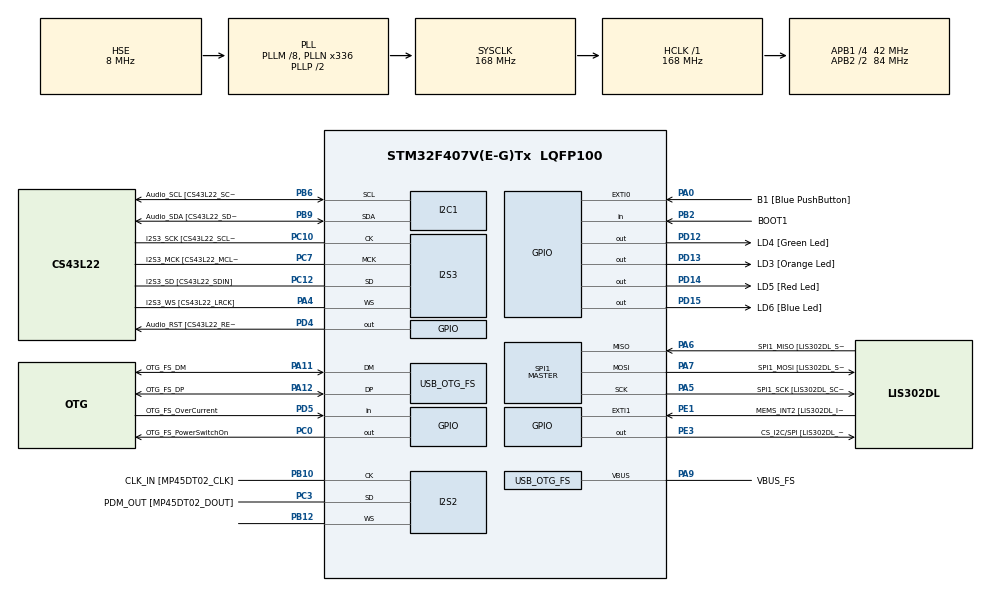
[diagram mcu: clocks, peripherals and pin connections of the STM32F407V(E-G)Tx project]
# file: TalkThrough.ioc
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Dma.Request0=SPI2_RX
Dma.Request1=SPI3_TX
Dma.SPI2_RX.0.Direction=DMA_PERIPH_TO_MEMORY
Dma.SPI2_RX.0.FIFOMode=DMA_FIFOMODE_DISABLE
Dma.SPI2_RX.0.Instance=DMA1_Stream3
Dma.SPI2_RX.0.MemDataAlignment=DMA_MDATAALIGN_WORD
Dma.SPI2_RX.0.MemInc=DMA_MINC_ENABLE
Dma.SPI2_RX.0.Mode=DMA_CIRCULAR
Dma.SPI2_RX.0.PeriphDataAlignment=DMA_PDATAALIGN_WORD
Dma.SPI2_RX.0.PeriphInc=DMA_PINC_DISABLE
Dma.SPI2_RX.0.Priority=DMA_PRIORITY_LOW
Dma.SPI3_TX.1.Direction=DMA_MEMORY_TO_PERIPH
Dma.SPI3_TX.1.FIFOMode=DMA_FIFOMODE_DISABLE
Dma.SPI3_TX.1.Instance=DMA1_Stream5
Dma.SPI3_TX.1.MemDataAlignment=DMA_MDATAALIGN_HALFWORD
Dma.SPI3_TX.1.MemInc=DMA_MINC_ENABLE
Dma.SPI3_TX.1.Mode=DMA_CIRCULAR
Dma.SPI3_TX.1.PeriphDataAlignment=DMA_PDATAALIGN_HALFWORD
Dma.SPI3_TX.1.PeriphInc=DMA_PINC_DISABLE
Dma.SPI3_TX.1.Priority=DMA_PRIORITY_LOW
I2S2.AudioFreq=I2S_AUDIOFREQ_48K
I2S2.DataFormat=I2S_DATAFORMAT_32B
I2S2.ErrorAudioFreq=0.8 %
I2S2.FullDuplexMode=I2S_FULLDUPLEXMODE_DISABLE
I2S2.Instance=SPI$Index
I2S2.Mode=I2S_MODE_MASTER_RX
I2S2.RealAudioFreq=48.387 KHz
I2S2.VirtualMode=I2S_MODE_MASTER
I2S3.AudioFreq=I2S_AUDIOFREQ_48K
I2S3.AudioFreq-Half_Duplex_Master=I2S_AUDIOFREQ_96K
I2S3.ErrorAudioFreq=-2.34 %
I2S3.ErrorAudioFreq-Half_Duplex_Master=0.8 %
I2S3.FullDuplexMode=I2S_FULLDUPLEXMODE_DISABLE
I2S3.Instance=SPI$Index
I2S3.RealAudioFreq=46.875 KHz
I2S3.RealAudioFreq-Half_Duplex_Master=96.774 KHz
I2S3.VirtualMode=I2S_MODE_MASTER
Mcu.Family=STM32F4
Mcu.Name=STM32F407V(E-G)Tx
Mcu.Package=LQFP100
NVIC.DMA1_Stream3_IRQn=true\:0\:0\:false\:false\:true\:false\:true
NVIC.DMA1_Stream5_IRQn=true\:0\:0\:false\:false\:true\:false\:true
NVIC.OTG_FS_IRQn=true\:0\:0\:false\:false\:true\:true\:true
NVIC.PriorityGroup=NVIC_PRIORITYGROUP_0
PA0-WKUP.GPIO_Label=B1 [Blue PushButton]
PA0-WKUP.GPIO_ModeDefaultEXTI=GPIO_MODE_EVT_RISING
PA0-WKUP.GPIO_PuPd=GPIO_NOPULL
PA0-WKUP.Signal=GPXTI0
PA10.GPIO_Label=OTG_FS_ID
PA10.GPIO_Mode=GPIO_MODE_AF_PP
PA10.GPIO_PuPd=GPIO_NOPULL
PA10.GPIO_Speed=GPIO_SPEED_FREQ_LOW
PA10.Signal=USB_OTG_FS_ID
PA11.GPIO_Label=OTG_FS_DM
PA11.GPIO_Mode=GPIO_MODE_AF_PP
PA11.GPIO_PuPd=GPIO_NOPULL
PA11.GPIO_Speed=GPIO_SPEED_FREQ_LOW
PA11.Mode=Host_Only
PA11.Signal=USB_OTG_FS_DM
PA12.GPIO_Label=OTG_FS_DP
PA12.GPIO_Mode=GPIO_MODE_AF_PP
PA12.GPIO_PuPd=GPIO_NOPULL
PA12.GPIO_Speed=GPIO_SPEED_FREQ_LOW
PA12.Mode=Host_Only
PA12.Signal=USB_OTG_FS_DP
PA13.GPIO_Label=SWDIO
PA13.Mode=Serial_Wire
PA13.Signal=SYS_JTMS-SWDIO
PA14.GPIO_Label=SWCLK
PA14.Mode=Serial_Wire
PA14.Signal=SYS_JTCK-SWCLK
PA4.GPIO_Label=I2S3_WS [CS43L22_LRCK]
PA4.GPIO_Mode=GPIO_MODE_AF_PP
PA4.GPIO_PuPd=GPIO_NOPULL
PA4.GPIO_Speed=GPIO_SPEED_FREQ_LOW
PA4.Mode=Half_Duplex_Master
PA4.Signal=I2S3_WS
PA5.GPIO_Label=SPI1_SCK [LIS302DL_SCL/SPC]
PA5.GPIO_Mode=GPIO_MODE_AF_PP
PA5.GPIO_PuPd=GPIO_NOPULL
PA5.GPIO_Speed=GPIO_SPEED_FREQ_LOW
PA5.Mode=Full_Duplex_Master
PA5.Signal=SPI1_SCK
PA6.GPIO_Label=SPI1_MISO [LIS302DL_SDO]
PA6.GPIO_Mode=GPIO_MODE_AF_PP
PA6.GPIO_PuPd=GPIO_NOPULL
PA6.GPIO_Speed=GPIO_SPEED_FREQ_LOW
PA6.Mode=Full_Duplex_Master
PA6.Signal=SPI1_MISO
PA7.GPIO_Label=SPI1_MOSI [LIS302DL_SDA/SDI/SDO]
PA7.GPIO_Mode=GPIO_MODE_AF_PP
PA7.GPIO_PuPd=GPIO_NOPULL
PA7.GPIO_Speed=GPIO_SPEED_FREQ_LOW
PA7.Mode=Full_Duplex_Master
PA7.Signal=SPI1_MOSI
PA9.GPIO_Label=VBUS_FS
PA9.GPIO_Mode=GPIO_MODE_INPUT
PA9.GPIO_PuPd=GPIO_NOPULL
PA9.Mode=Activate_VBUS
PA9.Signal=USB_OTG_FS_VBUS
PB10.GPIO_Label=CLK_IN [MP45DT02_CLK]
PB10.GPIO_Mode=GPIO_MODE_AF_PP
PB10.GPIO_PuPd=GPIO_NOPULL
PB10.GPIO_Speed=GPIO_SPEED_FREQ_LOW
PB10.Mode=Half_Duplex_Master
PB10.Signal=I2S2_CK
PB12.Mode=Half_Duplex_Master
PB12.Signal=I2S2_WS
PB2.GPIO_Label=BOOT1
PB2.GPIO_Mode=GPIO_MODE_INPUT
PB2.GPIO_PuPd=GPIO_NOPULL
PB2.Signal=GPIO_Input
PB3.GPIO_Label=SWO
PB3.Signal=SYS_JTDO-SWO
PB6.GPIO_Label=Audio_SCL [CS43L22_SCL]
PB6.GPIO_Mode=GPIO_MODE_AF_OD
PB6.GPIO_PuPd=GPIO_NOPULL
PB6.GPIO_Speed=GPIO_SPEED_FREQ_LOW
PB6.Mode=I2C
PB6.Signal=I2C1_SCL
PB9.GPIO_Label=Audio_SDA [CS43L22_SDA]
PB9.GPIO_Mode=GPIO_MODE_AF_OD
PB9.GPIO_PuPd=GPIO_NOPULL
PB9.GPIO_Speed=GPIO_SPEED_FREQ_LOW
PB9.Mode=I2C
PB9.Signal=I2C1_SDA
PC0.GPIO_Label=OTG_FS_PowerSwitchOn
PC0.GPIO_PuPd=GPIO_NOPULL
PC0.GPIO_Speed=GPIO_SPEED_FREQ_LOW
PC0.PinState=GPIO_PIN_SET
PC0.Signal=GPIO_Output
PC10.GPIO_Label=I2S3_SCK [CS43L22_SCLK]
PC10.GPIO_Mode=GPIO_MODE_AF_PP
PC10.GPIO_PuPd=GPIO_NOPULL
PC10.GPIO_Speed=GPIO_SPEED_FREQ_LOW
PC10.Mode=Half_Duplex_Master
PC10.Signal=I2S3_CK
PC12.GPIO_Label=I2S3_SD [CS43L22_SDIN]
PC12.GPIO_Mode=GPIO_MODE_AF_PP
PC12.GPIO_PuPd=GPIO_NOPULL
PC12.GPIO_Speed=GPIO_SPEED_FREQ_LOW
PC12.Mode=Half_Duplex_Master
PC12.Signal=I2S3_SD
PC14-OSC32_IN.GPIO_Label=PC14-OSC32_IN
PC14-OSC32_IN.Mode=LSE-External-Oscillator
PC14-OSC32_IN.Signal=RCC_OSC32_IN
PC15-OSC32_OUT.GPIO_Label=PC15-OSC32_OUT
PC15-OSC32_OUT.Mode=LSE-External-Oscillator
PC15-OSC32_OUT.Signal=RCC_OSC32_OUT
PC3.GPIO_Label=PDM_OUT [MP45DT02_DOUT]
PC3.GPIO_Mode=GPIO_MODE_AF_PP
PC3.GPIO_PuPd=GPIO_NOPULL
PC3.GPIO_Speed=GPIO_SPEED_FREQ_LOW
PC3.Mode=Half_Duplex_Master
PC3.Signal=I2S2_SD
PC7.GPIO_Label=I2S3_MCK [CS43L22_MCLK]
PC7.GPIO_Mode=GPIO_MODE_AF_PP
PC7.GPIO_PuPd=GPIO_NOPULL
PC7.GPIO_Speed=GPIO_SPEED_FREQ_LOW
PC7.Mode=Master_Clock_Activated
PC7.Signal=I2S3_MCK
PD12.GPIO_Label=LD4 [Green Led]
PD12.GPIO_PuPd=GPIO_NOPULL
PD12.GPIO_Speed=GPIO_SPEED_FREQ_LOW
PD12.Signal=GPIO_Output
PD13.GPIO_Label=LD3 [Orange Led]
PD13.GPIO_PuPd=GPIO_NOPULL
PD13.GPIO_Speed=GPIO_SPEED_FREQ_LOW
PD13.Signal=GPIO_Output
PD14.GPIO_Label=LD5 [Red Led]
PD14.GPIO_PuPd=GPIO_NOPULL
PD14.GPIO_Speed=GPIO_SPEED_FREQ_LOW
PD14.Signal=GPIO_Output
PD15.GPIO_Label=LD6 [Blue Led]
PD15.GPIO_PuPd=GPIO_NOPULL
PD15.GPIO_Speed=GPIO_SPEED_FREQ_LOW
PD15.Signal=GPIO_Output
PD4.GPIO_Label=Audio_RST [CS43L22_RESET]
PD4.GPIO_PuPd=GPIO_NOPULL
PD4.GPIO_Speed=GPIO_SPEED_FREQ_LOW
PD4.Signal=GPIO_Output
PD5.GPIO_Label=OTG_FS_OverCurrent
PD5.GPIO_Mode=GPIO_MODE_INPUT
PD5.GPIO_PuPd=GPIO_NOPULL
PD5.Signal=GPIO_Input
PE1.GPIO_Label=MEMS_INT2 [LIS302DL_INT2]
PE1.GPIO_ModeDefaultEXTI=GPIO_MODE_EVT_RISING
PE1.GPIO_PuPd=GPIO_NOPULL
PE1.Signal=GPXTI1
PE3.GPIO_Label=CS_I2C/SPI [LIS302DL_CS_I2C/SPI]
PE3.GPIO_PuPd=GPIO_NOPULL
PE3.GPIO_Speed=GPIO_SPEED_FREQ_LOW
PE3.Signal=GPIO_Output
PH0-OSC_IN.GPIO_Label=PH0-OSC_IN
PH0-OSC_IN.Mode=HSE-External-Oscillator
PH0-OSC_IN.Signal=RCC_OSC_IN
PH1-OSC_OUT.GPIO_Label=PH1-OSC_OUT
PH1-OSC_OUT.Mode=HSE-External-Oscillator
PH1-OSC_OUT.Signal=RCC_OSC_OUT
ProjectManager.HeapSize=0x200
ProjectManager.StackSize=0x400
ProjectManager.TargetToolchain=TrueSTUDIO
RCC.48MHZClocksFreq_Value=48000000
RCC.AHBFreq_Value=168000000
RCC.APB1CLKDivider=RCC_HCLK_DIV4
RCC.APB1Freq_Value=42000000
RCC.APB1TimFreq_Value=84000000
RCC.APB2CLKDivider=RCC_HCLK_DIV2
RCC.APB2Freq_Value=84000000
RCC.APB2TimFreq_Value=168000000
RCC.CortexFreq_Value=168000000
RCC.HCLKFreq_Value=168000000
RCC.HSE_VALUE=8000000
RCC.HSI_VALUE=16000000
RCC.PLLM=8
RCC.PLLN=336
RCC.PLLQ=7
RCC.SYSCLKFreq_VALUE=168000000
RCC.SYSCLKSource=RCC_SYSCLKSOURCE_PLLCLK
RCC.VCOOutputFreq_Value=336000000
SPI1.BaudRatePrescaler-Full_Duplex_Master=SPI_BAUDRATEPRESCALER_2
SPI1.CalculateBaudRate-Full_Duplex_Master=42.0 MBits/s
SPI1.Direction=SPI_DIRECTION_2LINES
SPI1.Mode=SPI_MODE_MASTER
SPI1.Mode-Full_Duplex_Master=SPI_MODE_MASTER
SPI1.VirtualType=VM_MASTER
USB_HOST.BSP.number=1
USB_HOST.USBH_HandleTypeDef-CDC_FS=hUsbHostFS
USB_HOST.VirtualModeFS=Cdc
USB_HOST0.BSP.STBoard=false
USB_HOST0.BSP.api=Unknown
USB_HOST0.BSP.i2caddr=0
USB_HOST0.BSP.i2creg=0
USB_HOST0.BSP.instance=PC0
USB_HOST0.BSP.ip=GPIO
USB_HOST0.BSP.mode=Output
USB_HOST0.BSP.name=Drive_VBUS_FS
USB_HOST0.BSP.solution=PC0
USB_OTG_FS.VirtualMode=Host_Only
USB_OTG_FS.phy_itface=HCD_PHY_EMBEDDED
VP_USB_HOST_VS_USB_HOST_CDC_FS.Mode=CDC_FS
board=STM32F4DISCOVERY

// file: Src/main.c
/* USER CODE BEGIN Header */
/**
  ******************************************************************************
  * @file           : main.c
  * @brief          : Main program body
  ******************************************************************************
  * @attention
  *
  * <h2><center>&copy; Copyright (c) 2019 STMicroelectronics.
  * All rights reserved.</center></h2>
  *
  * This software component is licensed by ST under Ultimate Liberty license
  * SLA0044, the "License"; You may not use this file except in compliance with
  * the License. You may obtain a copy of the License at:
  *                             www.st.com/SLA0044
  *
  ******************************************************************************
  */
/* USER CODE END Header */

#include "main.h"
#include "usb_host.h"

/* USER CODE BEGIN Includes */
#include "../Middlewares/ST/STM32_Audio/Addons/PDM/pdm_filter.h"
/* USER CODE END Includes */

/* USER CODE BEGIN PD */
#define NUM_ELEMS(a)	(sizeof(a)/sizeof(a[0]))
#define PDM_BUFF_SIZE        (64*2*2)   /*Both Left and Right * Double Buffer*/
#define PCM_OUT_SIZE        (32)

/* USER CODE END PD */

I2C_HandleTypeDef hi2c1;

I2S_HandleTypeDef hi2s2;
I2S_HandleTypeDef hi2s3;
DMA_HandleTypeDef hdma_spi2_rx;
DMA_HandleTypeDef hdma_spi3_tx;

SPI_HandleTypeDef hspi1;

/* USER CODE BEGIN PV */
PDMFilter_InitStruct PDMFilter;
__IO uint16_t AudioInVolume = 64;
static uint16_t    PDM_Buffer[PDM_BUFF_SIZE];
static uint16_t    MicPCMBuf[PCM_OUT_SIZE*2];

/* USER CODE END PV */

void SystemClock_Config(void);
static void MX_GPIO_Init(void);
static void MX_DMA_Init(void);
static void MX_I2C1_Init(void);
static void MX_I2S3_Init(void);
static void MX_SPI1_Init(void);
static void MX_I2S2_Init(void);
void MX_USB_HOST_Process(void);

/* USER CODE BEGIN 0 */
/**
  * @brief  Initialize the PDM library.
  * @param  AudioFreq: Audio sampling frequency
  * @param  ChnlNbr: Number of audio channels (1: mono; 2: stereo)
  * @retval None
  */
static void PDMDecoder_Init(uint32_t AudioFreq)
{

  /* Enable CRC peripheral to unlock the PDM library */
  __CRC_CLK_ENABLE();

  //for(i = 0; i < ChnlNbr; i++)
  {
    /* Filter LP and HP Init */
    PDMFilter.LP_HZ = AudioFreq / 2;
    PDMFilter.HP_HZ = 10;
    PDMFilter.Fs = AudioFreq;
    /* On STM32F4-Discovery a single microphone is mounted, samples are duplicated
       to make stereo audio streams */
    PDMFilter.Out_MicChannels = 2;
    PDMFilter.In_MicChannels = 1;
    PDM_Filter_Init((PDMFilter_InitStruct *)&PDMFilter);
  }
}

uint8_t BSP_AUDIO_IN_PDMToPCM(uint16_t *PDMBuf, uint16_t *PCMBuf)
{
  uint16_t AppPDM[PDM_BUFF_SIZE/2];
  uint32_t index = 0;

  /* PDM Demux */
  for(index = 0; index<PDM_BUFF_SIZE/2; index++)
  {
    AppPDM[index] = HTONS(PDMBuf[index]);
  }

  //for(index = 0; index < DEFAULT_AUDIO_IN_CHANNEL_NBR; index++)
  {
    /* PDM to PCM filter */
    PDM_Filter_64_LSB((uint8_t*)&AppPDM[0], (uint16_t*)&(PCMBuf[0]), AudioInVolume , (PDMFilter_InitStruct *)&PDMFilter);
  }
  /* Duplicate samples since a single microphone in mounted on STM32F4-Discovery */
  for(index = 0; index < PCM_OUT_SIZE; index++)
  {
    PCMBuf[(index<<1)+1] = PCMBuf[index<<1];
  }

  /* Return AUDIO_OK when all operations are correctly done */
  return 0;
}
/* USER CODE END 0 */

int main(void)
{

  /* MCU Configuration--------------------------------------------------------*/

  /* Reset of all peripherals, Initializes the Flash interface and the Systick. */
  HAL_Init();

  /* Configure the system clock */
  SystemClock_Config();

  /* USER CODE BEGIN SysInit */

  /* Configure the PDM library */
  PDMDecoder_Init(I2S_AUDIOFREQ_48K);

  /* USER CODE END SysInit */

  /* Initialize all configured peripherals */
  MX_GPIO_Init();
  MX_DMA_Init();
  MX_I2C1_Init();
  MX_I2S3_Init();
  MX_SPI1_Init();
  MX_USB_HOST_Init();
  MX_I2S2_Init();
  /* USER CODE BEGIN 2 */

  //memset(&PDM_Buffer[0], 0, sizeof(PDM_Buffer));

  HAL_I2S_Receive_DMA(&hi2s2, &PDM_Buffer[0], 10 );
  //HAL_I2S_Transmit_DMA(&hi2s3, );

  /* USER CODE END 2 */

  /* Infinite loop */
  while (1)
  {
    MX_USB_HOST_Process();

  }
}

void SystemClock_Config(void)
{
  RCC_OscInitTypeDef RCC_OscInitStruct = {0};
  RCC_ClkInitTypeDef RCC_ClkInitStruct = {0};
  RCC_PeriphCLKInitTypeDef PeriphClkInitStruct = {0};

  /** Configure the main internal regulator output voltage
  */
  __HAL_RCC_PWR_CLK_ENABLE();
  __HAL_PWR_VOLTAGESCALING_CONFIG(PWR_REGULATOR_VOLTAGE_SCALE1);
  /** Initializes the CPU, AHB and APB busses clocks
  */
  RCC_OscInitStruct.OscillatorType = RCC_OSCILLATORTYPE_HSE;
  RCC_OscInitStruct.HSEState = RCC_HSE_ON;
  RCC_OscInitStruct.PLL.PLLState = RCC_PLL_ON;
  RCC_OscInitStruct.PLL.PLLSource = RCC_PLLSOURCE_HSE;
  RCC_OscInitStruct.PLL.PLLM = 8;
  RCC_OscInitStruct.PLL.PLLN = 336;
  RCC_OscInitStruct.PLL.PLLP = RCC_PLLP_DIV2;
  RCC_OscInitStruct.PLL.PLLQ = 7;
  if (HAL_RCC_OscConfig(&RCC_OscInitStruct) != HAL_OK)
  {
    Error_Handler();
  }
  /** Initializes the CPU, AHB and APB busses clocks
  */
  RCC_ClkInitStruct.ClockType = RCC_CLOCKTYPE_HCLK|RCC_CLOCKTYPE_SYSCLK
                              |RCC_CLOCKTYPE_PCLK1|RCC_CLOCKTYPE_PCLK2;
  RCC_ClkInitStruct.SYSCLKSource = RCC_SYSCLKSOURCE_PLLCLK;
  RCC_ClkInitStruct.AHBCLKDivider = RCC_SYSCLK_DIV1;
  RCC_ClkInitStruct.APB1CLKDivider = RCC_HCLK_DIV4;
  RCC_ClkInitStruct.APB2CLKDivider = RCC_HCLK_DIV2;

  if (HAL_RCC_ClockConfig(&RCC_ClkInitStruct, FLASH_LATENCY_5) != HAL_OK)
  {
    Error_Handler();
  }
  PeriphClkInitStruct.PeriphClockSelection = RCC_PERIPHCLK_I2S;
  PeriphClkInitStruct.PLLI2S.PLLI2SN = 192;
  PeriphClkInitStruct.PLLI2S.PLLI2SR = 2;
  if (HAL_RCCEx_PeriphCLKConfig(&PeriphClkInitStruct) != HAL_OK)
  {
    Error_Handler();
  }
}

static void MX_I2C1_Init(void)
{

  hi2c1.Instance = I2C1;
  hi2c1.Init.ClockSpeed = 100000;
  hi2c1.Init.DutyCycle = I2C_DUTYCYCLE_2;
  hi2c1.Init.OwnAddress1 = 0;
  hi2c1.Init.AddressingMode = I2C_ADDRESSINGMODE_7BIT;
  hi2c1.Init.DualAddressMode = I2C_DUALADDRESS_DISABLE;
  hi2c1.Init.OwnAddress2 = 0;
  hi2c1.Init.GeneralCallMode = I2C_GENERALCALL_DISABLE;
  hi2c1.Init.NoStretchMode = I2C_NOSTRETCH_DISABLE;
  if (HAL_I2C_Init(&hi2c1) != HAL_OK)
  {
    Error_Handler();
  }

}

static void MX_I2S2_Init(void)
{

  //hi2s2.Instance = SPI2;
  //hi2s2.Init.Mode = I2S_MODE_MASTER_RX;
  //hi2s2.Init.Standard = I2S_STANDARD_PHILIPS;
  //hi2s2.Init.DataFormat = I2S_DATAFORMAT_16B;
  //hi2s2.Init.MCLKOutput = I2S_MCLKOUTPUT_DISABLE;
  //hi2s2.Init.AudioFreq = I2S_AUDIOFREQ_48K;
  //hi2s2.Init.CPOL = I2S_CPOL_LOW;
  //hi2s2.Init.ClockSource = I2S_CLOCK_PLL;
  //hi2s2.Init.FullDuplexMode = I2S_FULLDUPLEXMODE_DISABLE;
  //if (HAL_I2S_Init(&hi2s2) != HAL_OK)
  //{
  //  Error_Handler();
  //}
  /* USER CODE BEGIN I2S2_Init 2 */
  /* Initialize the hAudioInI2s Instance parameter */
  hi2s2.Instance          = SPI2;

  /* Disable I2S block */
  __HAL_I2S_DISABLE(&hi2s2);

  /* I2S2 peripheral configuration */
  hi2s2.Init.Mode         = I2S_MODE_MASTER_RX;
  hi2s2.Init.Standard     = I2S_STANDARD_LSB;
  hi2s2.Init.DataFormat   = I2S_DATAFORMAT_16B;
  hi2s2.Init.MCLKOutput   = I2S_MCLKOUTPUT_DISABLE;
  hi2s2.Init.AudioFreq    = 2 * I2S_AUDIOFREQ_48K;
  hi2s2.Init.CPOL         = I2S_CPOL_HIGH;
  hi2s2.Init.ClockSource  = I2S_CLOCK_PLL;

  /* Initialize the I2S peripheral with the structure above */
  if(HAL_I2S_GetState(&hi2s2) == HAL_I2S_STATE_RESET)
  {
    HAL_I2S_MspInit(&hi2s2);
  }

  if (HAL_I2S_Init(&hi2s2) != HAL_OK)
  {
    Error_Handler();
  }

  /* USER CODE END I2S2_Init 2 */

}

static void MX_I2S3_Init(void)
{

  hi2s3.Instance = SPI3;
  hi2s3.Init.Mode = I2S_MODE_MASTER_TX;
  hi2s3.Init.Standard = I2S_STANDARD_PHILIPS;
  hi2s3.Init.DataFormat = I2S_DATAFORMAT_16B;
  hi2s3.Init.MCLKOutput = I2S_MCLKOUTPUT_ENABLE;
  hi2s3.Init.AudioFreq = I2S_AUDIOFREQ_48K;
  hi2s3.Init.CPOL = I2S_CPOL_LOW;
  hi2s3.Init.ClockSource = I2S_CLOCK_PLL;
  hi2s3.Init.FullDuplexMode = I2S_FULLDUPLEXMODE_DISABLE;
  if (HAL_I2S_Init(&hi2s3) != HAL_OK)
  {
    Error_Handler();
  }

}

static void MX_SPI1_Init(void)
{

  /* SPI1 parameter configuration*/
  hspi1.Instance = SPI1;
  hspi1.Init.Mode = SPI_MODE_MASTER;
  hspi1.Init.Direction = SPI_DIRECTION_2LINES;
  hspi1.Init.DataSize = SPI_DATASIZE_8BIT;
  hspi1.Init.CLKPolarity = SPI_POLARITY_LOW;
  hspi1.Init.CLKPhase = SPI_PHASE_1EDGE;
  hspi1.Init.NSS = SPI_NSS_SOFT;
  hspi1.Init.BaudRatePrescaler = SPI_BAUDRATEPRESCALER_2;
  hspi1.Init.FirstBit = SPI_FIRSTBIT_MSB;
  hspi1.Init.TIMode = SPI_TIMODE_DISABLE;
  hspi1.Init.CRCCalculation = SPI_CRCCALCULATION_DISABLE;
  hspi1.Init.CRCPolynomial = 10;
  if (HAL_SPI_Init(&hspi1) != HAL_OK)
  {
    Error_Handler();
  }

}

static void MX_DMA_Init(void)
{
  /* DMA controller clock enable */
  __HAL_RCC_DMA1_CLK_ENABLE();

  /* DMA interrupt init */
  /* DMA1_Stream3_IRQn interrupt configuration */
  HAL_NVIC_SetPriority(DMA1_Stream3_IRQn, 0, 0);
  HAL_NVIC_EnableIRQ(DMA1_Stream3_IRQn);
  /* DMA1_Stream5_IRQn interrupt configuration */
  HAL_NVIC_SetPriority(DMA1_Stream5_IRQn, 0, 0);
  HAL_NVIC_EnableIRQ(DMA1_Stream5_IRQn);

}

static void MX_GPIO_Init(void)
{
  GPIO_InitTypeDef GPIO_InitStruct = {0};

  /* GPIO Ports Clock Enable */
  __HAL_RCC_GPIOE_CLK_ENABLE();
  __HAL_RCC_GPIOC_CLK_ENABLE();
  __HAL_RCC_GPIOH_CLK_ENABLE();
  __HAL_RCC_GPIOA_CLK_ENABLE();
  __HAL_RCC_GPIOB_CLK_ENABLE();
  __HAL_RCC_GPIOD_CLK_ENABLE();

  /*Configure GPIO pin Output Level */
  HAL_GPIO_WritePin(CS_I2C_SPI_GPIO_Port, CS_I2C_SPI_Pin, GPIO_PIN_RESET);

  /*Configure GPIO pin Output Level */
  HAL_GPIO_WritePin(OTG_FS_PowerSwitchOn_GPIO_Port, OTG_FS_PowerSwitchOn_Pin, GPIO_PIN_SET);

  /*Configure GPIO pin Output Level */
  HAL_GPIO_WritePin(GPIOD, LD4_Pin|LD3_Pin|LD5_Pin|LD6_Pin
                          |Audio_RST_Pin, GPIO_PIN_RESET);

  /*Configure GPIO pin : CS_I2C_SPI_Pin */
  GPIO_InitStruct.Pin = CS_I2C_SPI_Pin;
  GPIO_InitStruct.Mode = GPIO_MODE_OUTPUT_PP;
  GPIO_InitStruct.Pull = GPIO_NOPULL;
  GPIO_InitStruct.Speed = GPIO_SPEED_FREQ_LOW;
  HAL_GPIO_Init(CS_I2C_SPI_GPIO_Port, &GPIO_InitStruct);

  /*Configure GPIO pin : OTG_FS_PowerSwitchOn_Pin */
  GPIO_InitStruct.Pin = OTG_FS_PowerSwitchOn_Pin;
  GPIO_InitStruct.Mode = GPIO_MODE_OUTPUT_PP;
  GPIO_InitStruct.Pull = GPIO_NOPULL;
  GPIO_InitStruct.Speed = GPIO_SPEED_FREQ_LOW;
  HAL_GPIO_Init(OTG_FS_PowerSwitchOn_GPIO_Port, &GPIO_InitStruct);

  /*Configure GPIO pin : B1_Pin */
  GPIO_InitStruct.Pin = B1_Pin;
  GPIO_InitStruct.Mode = GPIO_MODE_EVT_RISING;
  GPIO_InitStruct.Pull = GPIO_NOPULL;
  HAL_GPIO_Init(B1_GPIO_Port, &GPIO_InitStruct);

  /*Configure GPIO pin : BOOT1_Pin */
  GPIO_InitStruct.Pin = BOOT1_Pin;
  GPIO_InitStruct.Mode = GPIO_MODE_INPUT;
  GPIO_InitStruct.Pull = GPIO_NOPULL;
  HAL_GPIO_Init(BOOT1_GPIO_Port, &GPIO_InitStruct);

  /*Configure GPIO pins : LD4_Pin LD3_Pin LD5_Pin LD6_Pin
                           Audio_RST_Pin */
  GPIO_InitStruct.Pin = LD4_Pin|LD3_Pin|LD5_Pin|LD6_Pin
                          |Audio_RST_Pin;
  GPIO_InitStruct.Mode = GPIO_MODE_OUTPUT_PP;
  GPIO_InitStruct.Pull = GPIO_NOPULL;
  GPIO_InitStruct.Speed = GPIO_SPEED_FREQ_LOW;
  HAL_GPIO_Init(GPIOD, &GPIO_InitStruct);

  /*Configure GPIO pin : OTG_FS_OverCurrent_Pin */
  GPIO_InitStruct.Pin = OTG_FS_OverCurrent_Pin;
  GPIO_InitStruct.Mode = GPIO_MODE_INPUT;
  GPIO_InitStruct.Pull = GPIO_NOPULL;
  HAL_GPIO_Init(OTG_FS_OverCurrent_GPIO_Port, &GPIO_InitStruct);

  /*Configure GPIO pin : MEMS_INT2_Pin */
  GPIO_InitStruct.Pin = MEMS_INT2_Pin;
  GPIO_InitStruct.Mode = GPIO_MODE_EVT_RISING;
  GPIO_InitStruct.Pull = GPIO_NOPULL;
  HAL_GPIO_Init(MEMS_INT2_GPIO_Port, &GPIO_InitStruct);

}

/* USER CODE BEGIN 4 */
/**
  * @brief  Rx Transfer completed callbacks
  * @param  hi2s: I2S handle
  * @retval None
  */
void HAL_I2S_RxCpltCallback(I2S_HandleTypeDef *hi2s)
{
  /* Call the record update function to get the next buffer to fill and its size (size is ignored) */
  //BSP_AUDIO_IN_TransferComplete_CallBack();
}

/**
  * @brief  Rx Half Transfer completed callbacks.
  * @param  hi2s: I2S handle
  * @retval None
  */
void HAL_I2S_RxHalfCpltCallback(I2S_HandleTypeDef *hi2s)
{
  /* Manage the remaining file size and new address offset: This function
     should be coded by user (its prototype is already declared in stm32f4_discovery_audio.h) */
  //BSP_AUDIO_IN_HalfTransfer_CallBack();
}

/* USER CODE END 4 */

void Error_Handler(void)
{
}

/************************ (C) COPYRIGHT STMicroelectronics *****END OF FILE****/
